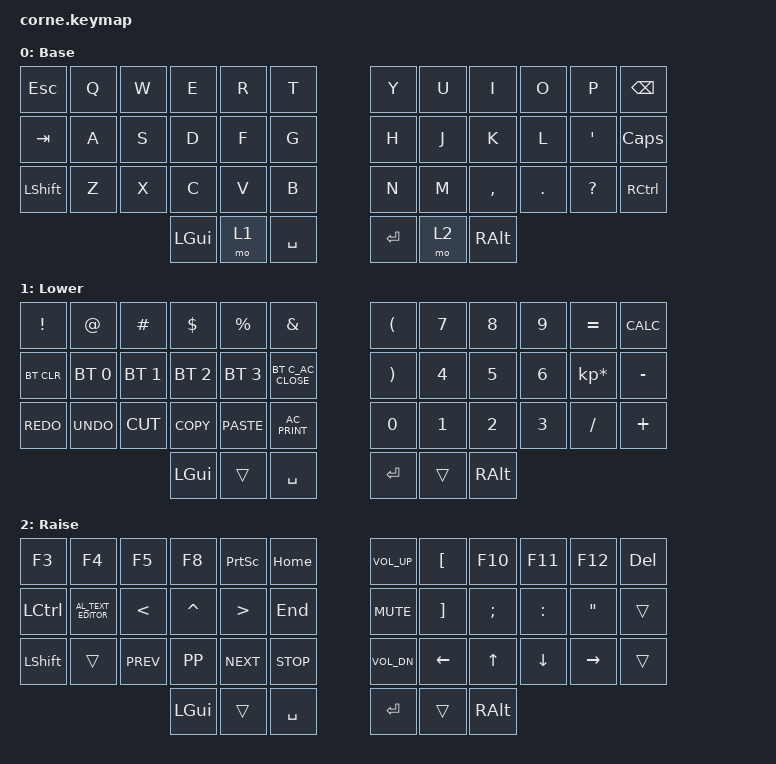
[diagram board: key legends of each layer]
/*
 * Copyright (c) 2020 The ZMK Contributors
 *
 * SPDX-License-Identifier: MIT
 */

#include <behaviors.dtsi>
#include <dt-bindings/zmk/bt.h>
#include <dt-bindings/zmk/keys.h>

/ {
    keymap {
        compatible = "zmk,keymap";

        default_layer {
            // -----------------------------------------------------------------------------------------
            // | ESC  |  Q  |  W  |  E  |  R  |  T  |   |  Y  |  U   |  I  |  O  |  P  | BKSP |
            // |  TAB |  A  |  S  |  D  |  F  |  G  |   |  H  |  J   |  K  |  L  |  '  | CAPS |
            // | SHFT |  Z  |  X  |  C  |  V  |  B  |   |  N  |  M   |  ,  |  .  |  ?  | CTRL |
            //                    | GUI | LWR | SPC |   | ENT | RSE  | ALT |

            label = "Base";
            bindings = <
&kp ESC    &kp Q  &kp W  &kp E     &kp R  &kp T        &kp Y    &kp U  &kp I      &kp O    &kp P      &kp BSPC
&kp TAB    &kp A  &kp S  &kp D     &kp F  &kp G        &kp H    &kp J  &kp K      &kp L    &kp SQT    &kp CAPS
&kp LSHFT  &kp Z  &kp X  &kp C     &kp V  &kp B        &kp N    &kp M  &kp COMMA  &kp DOT  &kp QMARK  &kp RCTRL
                         &kp LGUI  &mo 1  &kp SPACE    &kp RET  &mo 2  &kp RALT
            >;
        };

        lower_layer {
            // -----------------------------------------------------------------------------------------
            // |  !   |  @  |  #  |  $  |  %  |  &  |   |  (  |  7  |  8  |  9  |  =  | CALC |
            // | BTCLR| BT0 | BT1 | BT2 | BT3 | XAP |   |  )  |  4  |  5  |  6  |  *  |  -   |
            // | REDO | UND | CUT | CPY | PST | PRT |   |  0  |  1  |  2  |  3  |  /  |  +   |
            //                    | GUI |     | SPC |   | ENT |     | ALT |

            label = "Lower";
            bindings = <
&kp EXCL    &kp AT        &kp HASH      &kp DLLR      &kp PRCNT     &kp AMPS          &kp LPAR  &kp N7  &kp N8    &kp N9  &kp EQUAL        &kp K_CALC
&bt BT_CLR  &bt BT_SEL 0  &bt BT_SEL 1  &bt BT_SEL 2  &bt BT_SEL 3  &bt C_AC_CLOSE    &kp RPAR  &kp N4  &kp N5    &kp N6  &kp KP_MULTIPLY  &kp MINUS
&kp K_REDO  &kp K_UNDO    &kp K_CUT     &kp K_COPY    &kp K_PASTE   &kp C_AC_PRINT    &kp N0    &kp N1  &kp N2    &kp N3  &kp SLASH        &kp PLUS
                                        &kp LGUI      &trans        &kp SPACE         &kp RET   &trans  &kp RALT
            >;
        };

        raise_layer {
            // -----------------------------------------------------------------------------------------
            // |  F3  |  F4 |  F5 |  F8 | PTSC| HOME|   | Vol+|  [  | F10 | F11 | F12 |  DEL |
            // | CTRL | NTPD|  <  |  ^  |  >  | END |   | MUTE|  ]  |  ;  |  :  | """ |      |
            // | SHFT |     | PRE | PLP | NXT | STP |   | V0l-| <-  |  ^  |  v  | ->  |      |
            //                    | GUI |     | SPC |   | ENT |     | ALT |

            label = "Raise";
            bindings = <
&kp F3     &kp F4                &kp F5         &kp F8     &kp PRINTSCREEN   &kp HOME      &kp K_VOL_UP  &kp LEFT_BRACKET   &kp F10   &kp F11    &kp F12    &kp DEL
&kp LCTRL  &kp C_AL_TEXT_EDITOR  &kp LESS_THAN  &kp CARET  &kp GREATER_THAN  &kp END       &kp K_MUTE    &kp RIGHT_BRACKET  &kp SEMI  &kp COLON  &kp DQT    &trans
&kp LSHFT  &trans                &kp C_PREV     &kp K_PP   &kp K_NEXT        &kp C_STOP    &kp K_VOL_DN  &kp LEFT           &kp UP    &kp DOWN   &kp RIGHT  &trans
                                                &kp LGUI   &trans            &kp SPACE     &kp RET       &trans             &kp RALT
            >;
        };
    };
};
